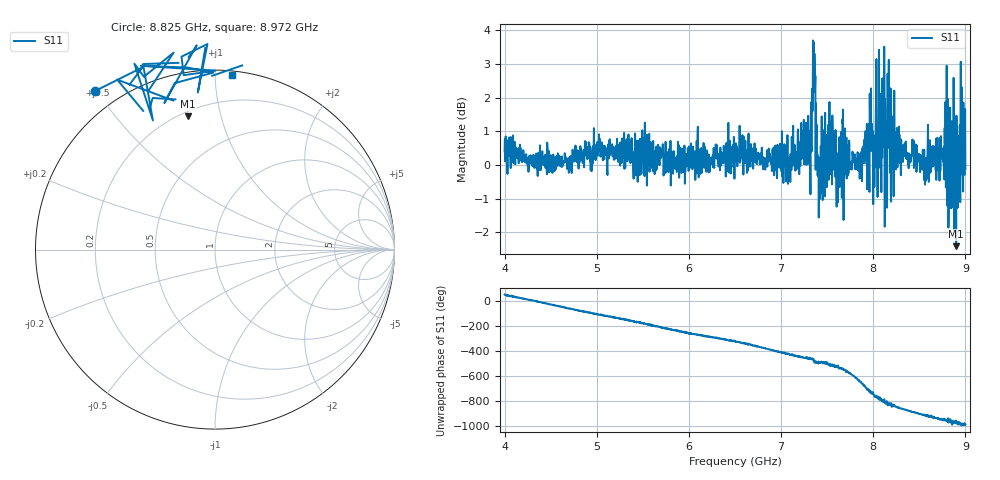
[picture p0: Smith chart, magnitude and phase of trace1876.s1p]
! Created with skrf 1.8.0 (http://scikit-rf.org).
# Hz S RI R 50.0
!freq ReS11 ImS11
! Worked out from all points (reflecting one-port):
!   1601 points, 4 GHz to 9 GHz, reference 50 ohm
!   lowest |S11| = -2.4 dB at 8.9 GHz (marker M1), VSWR 7.26, Z = 11.3 + j39.6 ohm
!   phase of S11 starts at 53 deg and turns -1045 deg over the sweep
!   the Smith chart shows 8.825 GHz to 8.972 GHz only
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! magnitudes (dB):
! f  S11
! 4 GHz  0.4
! 4.625 GHz  -0.1
! 5.25 GHz  0.0
! 5.875 GHz  0.3
! 6.5 GHz  0.4
! 7.125 GHz  0.5
! 7.297 GHz  0.6
! 7.347 GHz  3.7
! 7.369 GHz  2.3
! 7.4 GHz  0.2
! 7.428 GHz  -0.3
! 7.512 GHz  1.2
! 7.609 GHz  -0.2
! 7.65 GHz  0.9
! 7.75 GHz  0.0
! 8.022 GHz  -0.1
! 8.05 GHz  1.1
! 8.066 GHz  1.6
! 8.097 GHz  0.2
! 8.162 GHz  0.6
! 8.216 GHz  0.7
! 8.375 GHz  0.3
! 8.559 GHz  -0.1
! 8.788 GHz  -0.7
! 8.841 GHz  1.3
! 8.9 GHz  -2.4
! 8.972 GHz  -0.2
! 9 GHz  -0.1
